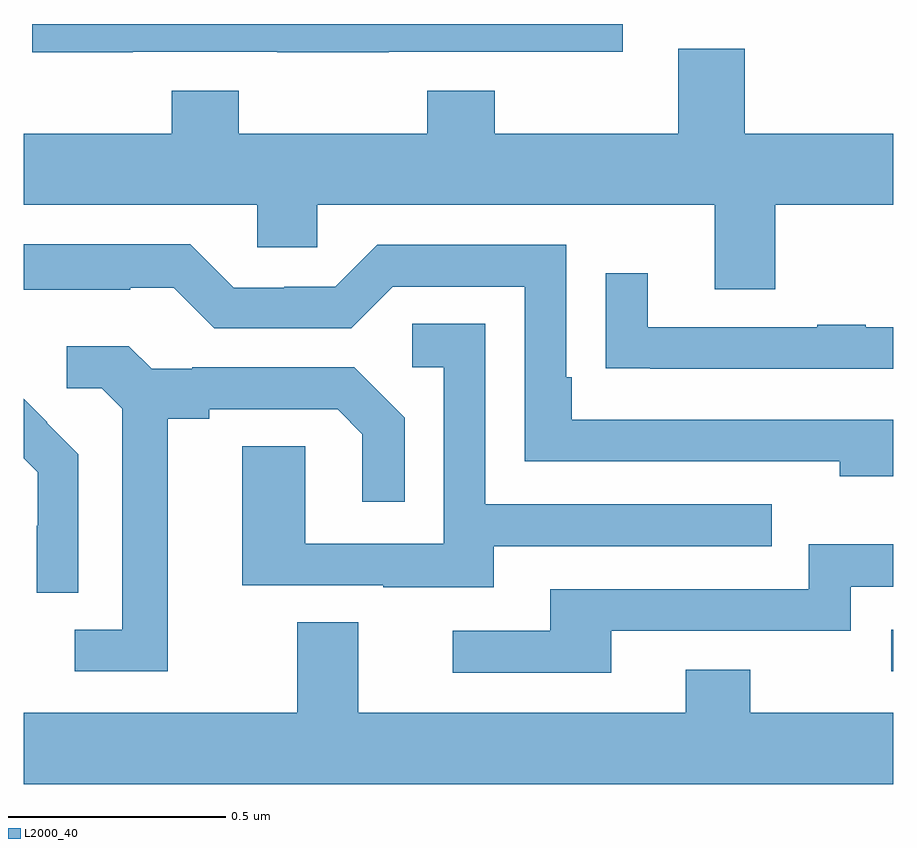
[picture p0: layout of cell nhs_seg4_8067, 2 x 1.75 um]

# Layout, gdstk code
import gdstk
lib = gdstk.Library(unit=1e-6, precision=1e-09)
def R(c, l, rs):  # rectangles x0, y0, x1, y1
    for r in rs: c.add(gdstk.rectangle(r[:2], r[2:], *l))
def P(c, l, *ps):  # polygons
    for p in ps: c.add(gdstk.Polygon(p, *l))
L2000_40 = (2000, 40)

nhs_seg4_8067 = lib.new_cell('nhs_seg4_8067')
R(nhs_seg4_8067, L2000_40, [(211.995,798.411,212,798.507)])
P(nhs_seg4_8067, L2000_40, [(210.251,799.836),(210.583,799.836),(210.583,799.835),(210.839,799.835),(210.839,799.836),(211.378,799.836),(211.378,799.9),(210.02,799.9),(210.02,799.835),(210.251,799.835)],
  [(211.729,799.484),(212,799.484),(212,799.648),(211.658,799.648),(211.658,799.843),(211.505,799.843),(211.505,799.648),(211.083,799.648),(211.083,799.747),(210.928,799.747),(210.928,799.648),(210.495,799.648),(210.495,799.747),(210.34,799.747),(210.34,799.648),(210,799.648),(210,799.484),(210.537,799.484),(210.537,799.386),(210.675,799.386),(210.675,799.484),(211.589,799.484),(211.589,799.29),(211.729,799.29)],
  [(212,798.99),(211.261,798.99),(211.261,799.087),(211.248,799.087),(211.248,799.392),(210.813,799.392),(210.717,799.296),(210.599,799.296),(210.599,799.293),(210.483,799.293),(210.383,799.393),(210,799.393),(210,799.289),(210.245,799.289),(210.245,799.293),(210.345,799.293),(210.438,799.2),(210.753,799.2),(210.849,799.296),(211.152,799.296),(211.152,798.894),(211.877,798.894),(211.877,798.86),(212,798.86)],
  [(212,799.203),(211.937,799.203),(211.937,799.208),(211.825,799.208),(211.825,799.203),(211.435,799.203),(211.435,799.327),(211.339,799.327),(211.339,799.108),(211.441,799.108),(211.441,799.107),(212,799.107)],
  [(211.081,798.699),(211.721,798.699),(211.721,798.795),(211.062,798.795),(211.062,799.211),(210.894,799.211),(210.894,799.11),(210.966,799.11),(210.966,798.705),(210.648,798.705),(210.648,798.929),(210.503,798.929),(210.503,798.609),(210.827,798.609),(210.827,798.605),(211.081,798.605)],
  [(210.331,798.992),(210.427,798.992),(210.427,799.014),(210.722,799.014),(210.779,798.957),(210.779,798.801),(210.876,798.801),(210.876,798.994),(210.76,799.11),(210.388,799.11),(210.388,799.107),(210.294,799.107),(210.242,799.159),(210.099,799.159),(210.099,799.062),(210.18,799.062),(210.227,799.015),(210.227,798.507),(210.117,798.507),(210.117,798.411),(210.331,798.411)],
  [(210.126,798.91),(210.053,798.983),(210.054,798.984),(210,799.038),(210,798.901),(210.032,798.869),(210.032,798.746),(210.03,798.746),(210.03,798.592),(210.126,798.592)],
  [(211.351,798.504),(211.902,798.504),(211.902,798.606),(212,798.606),(212,798.703),(211.806,798.703),(211.806,798.6),(211.211,798.6),(211.211,798.504),(210.987,798.504),(210.987,798.408),(211.351,798.408)],
  [(212,798.316),(211.671,798.316),(211.671,798.415),(211.523,798.415),(211.523,798.316),(210.769,798.316),(210.769,798.524),(210.629,798.524),(210.629,798.316),(210,798.316),(210,798.152),(212,798.152)])

lib.write_gds('nhs_seg4_8067.gds')
